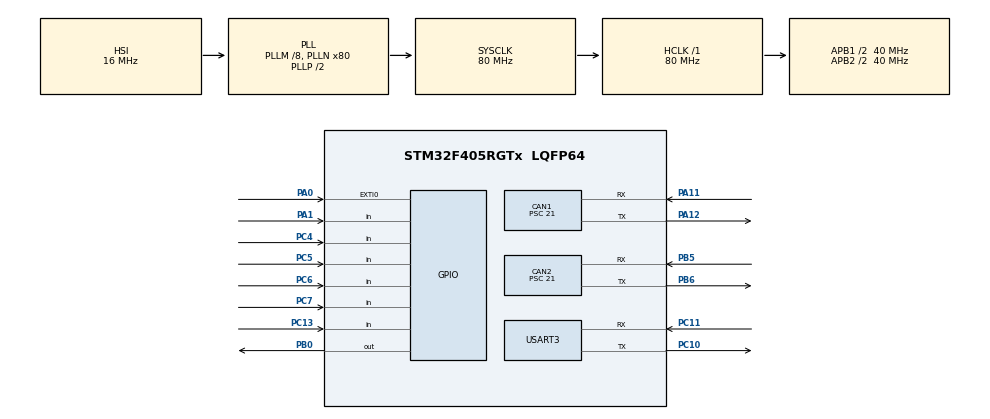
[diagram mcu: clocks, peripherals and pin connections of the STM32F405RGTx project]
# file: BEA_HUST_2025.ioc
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CAN1.BS1=CAN_BS1_12TQ
CAN1.BS2=CAN_BS2_4TQ
CAN1.CalculateBaudRate=112044
CAN1.CalculateTimeBit=8925
CAN1.CalculateTimeQuantum=525.0
CAN1.Prescaler=21
CAN2.BS1=CAN_BS1_12TQ
CAN2.BS2=CAN_BS2_4TQ
CAN2.CalculateBaudRate=112044
CAN2.CalculateTimeBit=8925
CAN2.CalculateTimeQuantum=525.0
CAN2.Prescaler=21
Mcu.Family=STM32F4
Mcu.Name=STM32F405RGTx
Mcu.Package=LQFP64
NVIC.CAN1_RX0_IRQn=true\:2\:0\:true\:false\:true\:true\:true\:true
NVIC.CAN2_RX0_IRQn=true\:2\:0\:true\:false\:true\:true\:true\:true
NVIC.EXTI0_IRQn=true\:1\:0\:true\:false\:true\:true\:true\:true
NVIC.PriorityGroup=NVIC_PRIORITYGROUP_4
NVIC.TIM3_IRQn=true\:0\:0\:false\:false\:true\:true\:true\:true
NVIC.USART3_IRQn=true\:1\:0\:true\:false\:true\:true\:true\:true
PA0-WKUP.GPIO_ModeDefaultEXTI=GPIO_MODE_IT_FALLING
PA0-WKUP.GPIO_PuPd=GPIO_PULLUP
PA0-WKUP.Signal=GPXTI0
PA1.GPIO_PuPd=GPIO_PULLUP
PA1.Signal=GPIO_Input
PA11.Mode=CAN_Activate
PA11.Signal=CAN1_RX
PA12.Mode=CAN_Activate
PA12.Signal=CAN1_TX
PB0.Signal=GPIO_Output
PB5.Mode=CAN_Activate
PB5.Signal=CAN2_RX
PB6.Mode=CAN_Activate
PB6.Signal=CAN2_TX
PC10.Mode=Asynchronous
PC10.Signal=USART3_TX
PC11.Mode=Asynchronous
PC11.Signal=USART3_RX
PC13-ANTI_TAMP.GPIO_PuPd=GPIO_PULLUP
PC13-ANTI_TAMP.Signal=GPIO_Input
PC4.GPIO_PuPd=GPIO_PULLUP
PC4.Signal=GPIO_Input
PC5.GPIO_PuPd=GPIO_PULLUP
PC5.Signal=GPIO_Input
PC6.GPIO_PuPd=GPIO_PULLUP
PC6.Signal=GPIO_Input
PC7.GPIO_PuPd=GPIO_PULLUP
PC7.Signal=GPIO_Input
PH0-OSC_IN.Mode=HSE-External-Oscillator
PH0-OSC_IN.Signal=RCC_OSC_IN
PH1-OSC_OUT.Mode=HSE-External-Oscillator
PH1-OSC_OUT.Signal=RCC_OSC_OUT
ProjectManager.HeapSize=0x200
ProjectManager.StackSize=0x400
ProjectManager.TargetToolchain=STM32CubeIDE
RCC.48MHZClocksFreq_Value=40000000
RCC.AHBFreq_Value=80000000
RCC.APB1CLKDivider=RCC_HCLK_DIV2
RCC.APB1Freq_Value=40000000
RCC.APB1TimFreq_Value=80000000
RCC.APB2CLKDivider=RCC_HCLK_DIV2
RCC.APB2Freq_Value=40000000
RCC.APB2TimFreq_Value=80000000
RCC.CortexFreq_Value=80000000
RCC.HCLKFreq_Value=80000000
RCC.HSE_VALUE=8000000
RCC.HSI_VALUE=16000000
RCC.LSE_VALUE=32768
RCC.PLLM=8
RCC.PLLN=80
RCC.SYSCLKFreq_VALUE=80000000
RCC.SYSCLKSource=RCC_SYSCLKSOURCE_PLLCLK
RCC.VCOOutputFreq_Value=160000000
TIM3.CounterMode=TIM_COUNTERMODE_UP
TIM3.Period=49999
TIM3.Prescaler=7999
USART3.VirtualMode=VM_ASYNC
VP_TIM3_VS_ClockSourceINT.Mode=Internal
board=custom

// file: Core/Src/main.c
/* USER CODE BEGIN Header */
/**
 ******************************************************************************
 * @file           : main.c
 * @brief          : Main program body
 ******************************************************************************
 * @attention
 *
 * Copyright (c) 2023 STMicroelectronics.
 * All rights reserved.
 *
 * This software is licensed under terms that can be found in the LICENSE file
 * in the root directory of this software component.
 * If no LICENSE file comes with this software, it is provided AS-IS.
 *
 ******************************************************************************
 */
/* USER CODE END Header */
#include "main.h"
#include "iso_tp.h"
#include "dcm.h"

CAN_HandleTypeDef hcan1;
CAN_HandleTypeDef hcan2;

TIM_HandleTypeDef htim3;

UART_HandleTypeDef huart3;

/* USER CODE BEGIN PV */
uint8_t uart3_receive;

CAN_HandleTypeDef hcan1;
CAN_HandleTypeDef hcan2;
CAN_TxHeaderTypeDef CAN1_pHeader;
CAN_RxHeaderTypeDef CAN1_pHeaderRx;
CAN_FilterTypeDef CAN1_sFilterConfig;
CAN_TxHeaderTypeDef CAN2_pHeader;
CAN_RxHeaderTypeDef CAN2_pHeaderRx;
CAN_FilterTypeDef CAN2_sFilterConfig;
uint32_t CAN1_pTxMailbox;
uint32_t CAN2_pTxMailbox;
uint16_t NumBytesReq = 0;
uint8_t REQ_BUFFER[4096];
uint8_t REQ_1BYTE_DATA;
uint8_t SEED[6] = { 0x01, 0x08, 0x82, 0x21, 0xAB, 0xCD };
uint8_t KEY[6] = { 0x00, 0x00, 0x00, 0x00, 0x00, 0x00 };

uint8_t CAN1_DATA_TX[8] = { 0x00, 0x00, 0x00, 0x00, 0x00, 0x00, 0x00, 0x00 };
uint8_t CAN1_DATA_RX[8] = { 0x00, 0x00, 0x00, 0x00, 0x00, 0x00, 0x00, 0x00 };
uint8_t CAN2_DATA_TX[8] = { 0x00, 0x00, 0x00, 0x00, 0x00, 0x00, 0x00, 0x00 };
uint8_t CAN2_DATA_RX[8] = { 0x00, 0x00, 0x00, 0x00, 0x00, 0x00, 0x00, 0x00 };

uint16_t Num_Consecutive_Tester;
uint8_t Flg_Consecutive = 0;
volatile uint8_t check;
unsigned int TimeStamp;
volatile uint8_t SecurityUnlocked = 0;
uint8_t SeedProvided = 0;
uint32_t newStdID;
uint16_t AVAILABLE_SERVICE = 0x0123;  // Data Identifier
// ISO-TP variables
uint16_t iso_tp_rx_len;             // Expected total length for RX (used by DCM modules)

// maximum characters send out via UART is 40
char bufsend[40] = "XXX: D1 D2 D3 D4 D5 D6 D7 D8  ";
/* USER CODE END PV */

void SystemClock_Config(void);
static void MX_GPIO_Init(void);
static void MX_CAN1_Init(void);
static void MX_CAN2_Init(void);
static void MX_USART3_UART_Init(void);
static void MX_TIM3_Init(void);
/* USER CODE BEGIN PFP */
void MX_CAN1_Setup();
void MX_CAN2_Setup();
void USART3_SendString(uint8_t *ch);
void send_uds_request_via_can1(uint8_t *uds_data, uint16_t length);
void PrintCANLog(uint16_t CANID, uint8_t *CAN_Frame);
void delay(uint16_t delay);
void read_from_buffer(uint8_t *req_buffer, uint16_t len, uint8_t *data_tx);
void CAN1CommSetup();
void CAN2CommSetup();
void CAN1_Send();
void CAN2_Send();
void calculate_key(uint8_t *input, uint8_t *output);
uint8_t compare_key(uint8_t *array1, uint8_t *array2, uint8_t length);
/* USER CODE END PFP */

int main(void) {

	/* USER CODE BEGIN 1 */
	//uint16_t i, j = 0;
	//uint16_t Consecutive_Cntr = 0;
	/* USER CODE END 1 */

	/* MCU Configuration--------------------------------------------------------*/

	/* Reset of all peripherals, Initializes the Flash interface and the Systick. */
	HAL_Init();

	/* Configure the system clock */
	SystemClock_Config();

	/* Initialize all configured peripherals */
	MX_GPIO_Init();
	MX_CAN1_Init();
	MX_CAN2_Init();
	MX_USART3_UART_Init();
	MX_TIM3_Init();
	/* USER CODE BEGIN 2 */
	CAN1CommSetup();
	CAN2CommSetup();
	MX_CAN1_Setup();
	MX_CAN2_Setup();
	iso_tp_init();  // Initialize ISO-TP
	__HAL_UART_ENABLE_IT(&huart3, UART_IT_RXNE);

	/* USER CODE END 2 */

	/* Infinite loop */
	/* USER CODE BEGIN WHILE */
	// Example Function to print can message via uart
	PrintCANLog(CAN1_pHeader.StdId, &CAN1_DATA_TX[0]);
	while (1) {
		/* USER CODE END WHILE */

		/* USER CODE BEGIN 3 */
		// Update ISO-TP timer
		iso_tp_timer_update();

		// Check if CAN1 received a response (non-Flow Control) for display
		if (check == 1) {
			// Check if this is part of a multi-frame response
			uint8_t pci = CAN1_DATA_RX[0] & 0xF0;
			if (pci != 0x10 && pci != 0x20) { // Not First Frame or Consecutive Frame
				USART3_SendString((uint8_t*) "Response: ");
			}
			PrintCANLog(CAN1_pHeaderRx.StdId, CAN1_DATA_RX);
			check = 0;
		}

		if (NumBytesReq != 0) {
			delay(100);

			// Convert raw UDS data to ISO-TP frames
			// User sends: "27 01" → Program creates: "02 27 01"
			send_uds_request_via_can1(REQ_BUFFER, NumBytesReq);

			// Clear buffer after processing
			memset(REQ_BUFFER, 0, sizeof(REQ_BUFFER));
			NumBytesReq = 0;

			delay(100);
		}
		if (!BtnU) /*IG OFF->ON stimulation*/
		{
			delay(20);
			USART3_SendString((uint8_t*) "IG OFF ");
			while (!BtnU)
				;
			CAN1_pHeader.StdId = newStdID;
			CAN2CommSetup();
			MX_CAN1_Setup();
			MX_CAN2_Setup();
			USART3_SendString((uint8_t*) "-> IG ON \n");
			delay(20);
		}
	}

	memset(&REQ_BUFFER, 0x00, 4096);
	NumBytesReq = 0;

	/* USER CODE END 3 */
}

void SystemClock_Config(void) {
	RCC_OscInitTypeDef RCC_OscInitStruct = { 0 };
	RCC_ClkInitTypeDef RCC_ClkInitStruct = { 0 };

	/** Configure the main internal regulator output voltage
	 */
	__HAL_RCC_PWR_CLK_ENABLE();
	__HAL_PWR_VOLTAGESCALING_CONFIG(PWR_REGULATOR_VOLTAGE_SCALE1);

	/** Initializes the RCC Oscillators according to the specified parameters
	 * in the RCC_OscInitTypeDef structure.
	 */
	RCC_OscInitStruct.OscillatorType = RCC_OSCILLATORTYPE_HSI;
	RCC_OscInitStruct.HSIState = RCC_HSI_ON;
	RCC_OscInitStruct.HSICalibrationValue = RCC_HSICALIBRATION_DEFAULT;
	RCC_OscInitStruct.PLL.PLLState = RCC_PLL_ON;
	RCC_OscInitStruct.PLL.PLLSource = RCC_PLLSOURCE_HSI;
	RCC_OscInitStruct.PLL.PLLM = 8;
	RCC_OscInitStruct.PLL.PLLN = 80;
	RCC_OscInitStruct.PLL.PLLP = RCC_PLLP_DIV2;
	RCC_OscInitStruct.PLL.PLLQ = 4;
	if (HAL_RCC_OscConfig(&RCC_OscInitStruct) != HAL_OK) {
		Error_Handler();
	}

	/** Initializes the CPU, AHB and APB buses clocks
	 */
	RCC_ClkInitStruct.ClockType = RCC_CLOCKTYPE_HCLK | RCC_CLOCKTYPE_SYSCLK
			| RCC_CLOCKTYPE_PCLK1 | RCC_CLOCKTYPE_PCLK2;
	RCC_ClkInitStruct.SYSCLKSource = RCC_SYSCLKSOURCE_PLLCLK;
	RCC_ClkInitStruct.AHBCLKDivider = RCC_SYSCLK_DIV1;
	RCC_ClkInitStruct.APB1CLKDivider = RCC_HCLK_DIV2;
	RCC_ClkInitStruct.APB2CLKDivider = RCC_HCLK_DIV2;

	if (HAL_RCC_ClockConfig(&RCC_ClkInitStruct, FLASH_LATENCY_2) != HAL_OK) {
		Error_Handler();
	}
}

static void MX_CAN1_Init(void) {

	hcan1.Instance = CAN1;
	hcan1.Init.Prescaler = 21;
	hcan1.Init.Mode = CAN_MODE_NORMAL;
	hcan1.Init.SyncJumpWidth = CAN_SJW_1TQ;
	hcan1.Init.TimeSeg1 = CAN_BS1_12TQ;
	hcan1.Init.TimeSeg2 = CAN_BS2_4TQ;
	hcan1.Init.TimeTriggeredMode = DISABLE;
	hcan1.Init.AutoBusOff = DISABLE;
	hcan1.Init.AutoWakeUp = DISABLE;
	hcan1.Init.AutoRetransmission = DISABLE;
	hcan1.Init.ReceiveFifoLocked = DISABLE;
	hcan1.Init.TransmitFifoPriority = DISABLE;
	if (HAL_CAN_Init(&hcan1) != HAL_OK) {
		Error_Handler();
	}

}

static void MX_CAN2_Init(void) {

	hcan2.Instance = CAN2;
	hcan2.Init.Prescaler = 21;
	hcan2.Init.Mode = CAN_MODE_NORMAL;
	hcan2.Init.SyncJumpWidth = CAN_SJW_1TQ;
	hcan2.Init.TimeSeg1 = CAN_BS1_12TQ;
	hcan2.Init.TimeSeg2 = CAN_BS2_4TQ;
	hcan2.Init.TimeTriggeredMode = DISABLE;
	hcan2.Init.AutoBusOff = DISABLE;
	hcan2.Init.AutoWakeUp = DISABLE;
	hcan2.Init.AutoRetransmission = DISABLE;
	hcan2.Init.ReceiveFifoLocked = DISABLE;
	hcan2.Init.TransmitFifoPriority = DISABLE;
	if (HAL_CAN_Init(&hcan2) != HAL_OK) {
		Error_Handler();
	}

}

static void MX_TIM3_Init(void) {

	TIM_ClockConfigTypeDef sClockSourceConfig = { 0 };
	TIM_MasterConfigTypeDef sMasterConfig = { 0 };

	htim3.Instance = TIM3;
	htim3.Init.Prescaler = 7999;
	htim3.Init.CounterMode = TIM_COUNTERMODE_UP;
	htim3.Init.Period = 49999;
	htim3.Init.ClockDivision = TIM_CLOCKDIVISION_DIV1;
	htim3.Init.AutoReloadPreload = TIM_AUTORELOAD_PRELOAD_DISABLE;
	if (HAL_TIM_Base_Init(&htim3) != HAL_OK) {
		Error_Handler();
	}
	sClockSourceConfig.ClockSource = TIM_CLOCKSOURCE_INTERNAL;
	if (HAL_TIM_ConfigClockSource(&htim3, &sClockSourceConfig) != HAL_OK) {
		Error_Handler();
	}
	sMasterConfig.MasterOutputTrigger = TIM_TRGO_RESET;
	sMasterConfig.MasterSlaveMode = TIM_MASTERSLAVEMODE_DISABLE;
	if (HAL_TIMEx_MasterConfigSynchronization(&htim3, &sMasterConfig)
			!= HAL_OK) {
		Error_Handler();
	}

}

static void MX_USART3_UART_Init(void) {

	huart3.Instance = USART3;
	huart3.Init.BaudRate = 115200;
	huart3.Init.WordLength = UART_WORDLENGTH_8B;
	huart3.Init.StopBits = UART_STOPBITS_1;
	huart3.Init.Parity = UART_PARITY_NONE;
	huart3.Init.Mode = UART_MODE_TX_RX;
	huart3.Init.HwFlowCtl = UART_HWCONTROL_NONE;
	huart3.Init.OverSampling = UART_OVERSAMPLING_16;
	if (HAL_UART_Init(&huart3) != HAL_OK) {
		Error_Handler();
	}

}

static void MX_GPIO_Init(void) {
	GPIO_InitTypeDef GPIO_InitStruct = { 0 };

	/* GPIO Ports Clock Enable */
	__HAL_RCC_GPIOC_CLK_ENABLE();
	__HAL_RCC_GPIOH_CLK_ENABLE();
	__HAL_RCC_GPIOA_CLK_ENABLE();
	__HAL_RCC_GPIOB_CLK_ENABLE();

	/*Configure GPIO pin Output Level */
	HAL_GPIO_WritePin(GPIOB, GPIO_PIN_0, GPIO_PIN_RESET);

	/*Configure GPIO pins : PC13 PC4 PC5 PC6
	 PC7 */
	GPIO_InitStruct.Pin = GPIO_PIN_13 | GPIO_PIN_4 | GPIO_PIN_5 | GPIO_PIN_6
			| GPIO_PIN_7;
	GPIO_InitStruct.Mode = GPIO_MODE_INPUT;
	GPIO_InitStruct.Pull = GPIO_PULLUP;
	HAL_GPIO_Init(GPIOC, &GPIO_InitStruct);

	/*Configure GPIO pin : PA0 */
	GPIO_InitStruct.Pin = GPIO_PIN_0;
	GPIO_InitStruct.Mode = GPIO_MODE_IT_FALLING;
	GPIO_InitStruct.Pull = GPIO_PULLUP;
	HAL_GPIO_Init(GPIOA, &GPIO_InitStruct);

	/*Configure GPIO pin : PA1 */
	GPIO_InitStruct.Pin = GPIO_PIN_1;
	GPIO_InitStruct.Mode = GPIO_MODE_INPUT;
	GPIO_InitStruct.Pull = GPIO_PULLUP;
	HAL_GPIO_Init(GPIOA, &GPIO_InitStruct);

	/*Configure GPIO pin : PB0 */
	GPIO_InitStruct.Pin = GPIO_PIN_0;
	GPIO_InitStruct.Mode = GPIO_MODE_OUTPUT_PP;
	GPIO_InitStruct.Pull = GPIO_NOPULL;
	GPIO_InitStruct.Speed = GPIO_SPEED_FREQ_LOW;
	HAL_GPIO_Init(GPIOB, &GPIO_InitStruct);

	/* EXTI interrupt init*/
	HAL_NVIC_SetPriority(EXTI0_IRQn, 1, 0);
	HAL_NVIC_EnableIRQ(EXTI0_IRQn);

}

/* USER CODE BEGIN 4 */
void read_from_buffer(uint8_t *req_buffer, uint16_t len, uint8_t *data_tx) {
	// Copy the complete ISO-TP frame including PCI
	uint8_t i;
	for (i = 0; i < len && i < 8; i++) {
		data_tx[i] = req_buffer[i];
	}
	// Pad remaining bytes with 0x55
	while (i < 8) {
		data_tx[i] = 0x55;
		i++;
	}
}
void MX_CAN1_Setup() {
	HAL_CAN_ConfigFilter(&hcan1, &CAN1_sFilterConfig);
	HAL_CAN_Start(&hcan1);
	HAL_CAN_ActivateNotification(&hcan1, CAN_IT_RX_FIFO0_MSG_PENDING);
}
void MX_CAN2_Setup() {
	HAL_CAN_ConfigFilter(&hcan2, &CAN2_sFilterConfig);
	HAL_CAN_Start(&hcan2);
	HAL_CAN_ActivateNotification(&hcan2, CAN_IT_RX_FIFO0_MSG_PENDING);
}

void USART3_SendString(uint8_t *ch) {
	while (*ch != 0) {
		if (*ch == '\n') {
			// Send carriage return before newline for proper line ending
			unsigned char cr = '\r';
			HAL_UART_Transmit(&huart3, &cr, 1, HAL_MAX_DELAY);
		}
		HAL_UART_Transmit(&huart3, ch, 1, HAL_MAX_DELAY);
		ch++;
	}
}
void PrintCANLog(uint16_t CANID, uint8_t *CAN_Frame) {
	// Print timestamp
	sprintf(bufsend, "%d ", TimeStamp);
	USART3_SendString((uint8_t*) bufsend);

	// Format and print the complete CAN message: "XXX: D1 D2 D3 D4 D5 D6 D7 D8 "
	sprintf(bufsend, "0x%03X: %02X %02X %02X %02X %02X %02X %02X %02X \n",
			CANID,
			CAN_Frame[0], CAN_Frame[1], CAN_Frame[2], CAN_Frame[3],
			CAN_Frame[4], CAN_Frame[5], CAN_Frame[6], CAN_Frame[7]);
	USART3_SendString((unsigned char*) bufsend);
}
void HAL_UART_RxCpltCallback(UART_HandleTypeDef *huart) {
	REQ_BUFFER[NumBytesReq] = REQ_1BYTE_DATA;
	NumBytesReq++;
	//REQ_BUFFER[7] = NumBytesReq;
}
void delay(uint16_t delay) {
	HAL_Delay(delay);
}

// Correct calculated key for SEED {0x01, 0x08, 0x82, 0x21, 0xAB, 0xCD} is: {0x09, 0x8A, 0xA3, 0x22, 0xA0, 0x0D}
// UART command: "27 02 09 8A A3 22 A0 0D"
void calculate_key(uint8_t *input, uint8_t *output) {
	output[0] = input[0] ^ input[1];
	output[1] = input[1] + input[2];
	output[2] = input[2] ^ input[3];
	output[3] = input[3] + input[0];
	output[4] = input[4] & 0xF0;
	output[5] = input[5] & 0x0F;
}

// Function to send UDS request via CAN1 with proper ISO-TP framing
void send_uds_request_via_can1(uint8_t *uds_data, uint16_t length) {
	if (length == 0 || length > 4095) {
		USART3_SendString((uint8_t*) "Invalid UDS data length\n");
		return;
	}

	// Print debug info
	char debug_msg[100];
	/*
	sprintf(debug_msg, "UDS Request (%d bytes): ", length);
	USART3_SendString((uint8_t*) debug_msg);

	for (int i = 0; i < length && i < 10; i++) {
		sprintf(debug_msg, "%02X ", uds_data[i]);
		USART3_SendString((uint8_t*) debug_msg);
	}
	USART3_SendString((uint8_t*) "\n");
	*/

	if (length <= 7) {
		// Single Frame: First byte = 0x0L (L = length)
		CAN1_DATA_TX[0] = 0x00 | length; // Single Frame PCI + length
		memcpy(&CAN1_DATA_TX[1], uds_data, length);

		// Pad remaining bytes
		for (int i = length + 1; i < 8; i++) {
			CAN1_DATA_TX[i] = 0x55;
		}

		//sprintf(debug_msg, "Sending Single Frame: ");
		//USART3_SendString((uint8_t*) debug_msg);
		//PrintCANLog(CAN1_pHeader.StdId, CAN1_DATA_TX);

		USART3_SendString((uint8_t*) "Request: ");
		CAN1_Send();
	} else {
		// Multi-Frame: First Frame + Consecutive Frames
		// First Frame: 1L LL DD DD DD DD DD DD (L LL = 12-bit length)
		CAN1_DATA_TX[0] = 0x10 | ((length >> 8) & 0x0F); // FF PCI + high nibble of length
		CAN1_DATA_TX[1] = length & 0xFF; // Low byte of length
		memcpy(&CAN1_DATA_TX[2], uds_data, 6); // First 6 bytes of data

		sprintf(debug_msg, "Sending First Frame: ");
		USART3_SendString((uint8_t*) debug_msg);

		CAN1_Send();

		// Wait for Flow Control (in a real implementation, this should be event-driven)
		delay(100);

		// Send Consecutive Frames
		uint16_t sent_bytes = 6;
		uint8_t sequence_number = 1;

		while (sent_bytes < length) {
			uint8_t remaining = length - sent_bytes;
			uint8_t to_send = (remaining > 7) ? 7 : remaining;

			CAN1_DATA_TX[0] = 0x20 | (sequence_number & 0x0F); // CF PCI + sequence number
			memcpy(&CAN1_DATA_TX[1], &uds_data[sent_bytes], to_send);

			// Pad remaining bytes
			for (int i = to_send + 1; i < 8; i++) {
				CAN1_DATA_TX[i] = 0x55;
			}

			sprintf(debug_msg, "Sending Consecutive Frame %d: ", sequence_number);
			USART3_SendString((uint8_t*) debug_msg);

			CAN1_Send();

			sent_bytes += to_send;
			sequence_number++;
			if (sequence_number > 15) sequence_number = 0; // Wrap around

			delay(50); // Small delay between frames
		}
	}
}
uint8_t compare_key(uint8_t *array1, uint8_t *array2, uint8_t length) {
	for (uint8_t i = 0; i < length; i++) {
		if (array1[i] != array2[i]) {
			return 0;
		}
	}
	return 1;
}

void HAL_CAN_RxFifo0MsgPendingCallback(CAN_HandleTypeDef *hcan) {
	HAL_StatusTypeDef ret;
	if (hcan == &hcan1) {
		ret = HAL_CAN_GetRxMessage(hcan, CAN_RX_FIFO0, &CAN1_pHeaderRx,
				CAN1_DATA_RX);
		if (ret != HAL_OK) {
			Error_Handler();
		}

		// Process CAN1 frames immediately in interrupt
		uint8_t pci = CAN1_DATA_RX[0] & 0xF0;
		if (pci == ISO_TP_PCI_FC) {
			// Process Flow Control from ECU
			iso_tp_process_rx(CAN1_DATA_RX);
		} else if (pci == ISO_TP_PCI_SF) {
			// Single Frame - set flag for main loop display
			check = 1;
		} else {
			// Multi-frame (FF or CF) - don't log here since ECU side already logged when sending
			// Just process silently
		}
		return;
	}
	if (hcan == &hcan2) {
		ret = HAL_CAN_GetRxMessage(hcan, CAN_RX_FIFO0, &CAN2_pHeaderRx,
				CAN2_DATA_RX);
		if (ret != HAL_OK) {
			Error_Handler();
		}

		// Process CAN2 frames immediately in interrupt
		iso_tp_process_rx(CAN2_DATA_RX);
		return;
	}
}

void CAN1_Send() {
	PrintCANLog(CAN1_pHeader.StdId, CAN1_DATA_TX);
	if (HAL_CAN_AddTxMessage(&hcan1, &CAN1_pHeader, CAN1_DATA_TX,
			&CAN1_pTxMailbox) != HAL_OK) {
		Error_Handler();
	}
}

void CAN1CommSetup() {
	CAN1_pHeader.IDE = CAN_ID_STD;
	CAN1_pHeader.StdId = 0x712;
	CAN1_pHeader.RTR = CAN_RTR_DATA;
	CAN1_pHeader.DLC = 8;
	CAN1_sFilterConfig.FilterActivation = CAN_FILTER_ENABLE;
	CAN1_sFilterConfig.FilterBank = 14;
	CAN1_sFilterConfig.FilterFIFOAssignment = CAN_FILTER_FIFO0;
	CAN1_sFilterConfig.FilterIdHigh = 0x7A2 << 5;
	CAN1_sFilterConfig.FilterIdLow = 0;
	CAN1_sFilterConfig.FilterMaskIdHigh = 0x7A2 << 5;
	CAN1_sFilterConfig.FilterMaskIdLow = 0;
	CAN1_sFilterConfig.FilterMode = CAN_FILTERMODE_IDMASK;
	CAN1_sFilterConfig.FilterScale = CAN_FILTERSCALE_32BIT;
	CAN1_sFilterConfig.SlaveStartFilterBank = 16;
	HAL_CAN_ConfigFilter(&hcan1, &CAN1_sFilterConfig);
}

void CAN2_Send() {
	PrintCANLog(CAN2_pHeader.StdId, CAN2_DATA_TX);
	if (HAL_CAN_AddTxMessage(&hcan2, &CAN2_pHeader, CAN2_DATA_TX,
			&CAN2_pTxMailbox) != HAL_OK) {
		Error_Handler();
	}
}

void CAN2CommSetup() {
	CAN2_pHeader.IDE = CAN_ID_STD;
	CAN2_pHeader.StdId = 0x7A2;
	CAN2_pHeader.RTR = CAN_RTR_DATA;
	CAN2_pHeader.DLC = 8;
	CAN2_sFilterConfig.FilterActivation = CAN_FILTER_ENABLE;
	CAN2_sFilterConfig.FilterBank = 18;
	CAN2_sFilterConfig.FilterFIFOAssignment = CAN_FILTER_FIFO0;
	CAN2_sFilterConfig.FilterIdHigh = CAN1_pHeader.StdId << 5;
	CAN2_sFilterConfig.FilterIdLow = 0;
	CAN2_sFilterConfig.FilterMaskIdHigh = CAN1_pHeader.StdId << 5;
	CAN2_sFilterConfig.FilterMaskIdLow = 0;
	CAN2_sFilterConfig.FilterMode = CAN_FILTERMODE_IDMASK;
	CAN2_sFilterConfig.FilterScale = CAN_FILTERSCALE_32BIT;
	HAL_CAN_ConfigFilter(&hcan2, &CAN2_sFilterConfig);
}

void HAL_TIM_PeriodElapsedCallback(TIM_HandleTypeDef *htim) {
	if (htim == &htim3) {
		if (SecurityUnlocked == 0)
			return;
		else {
			HAL_TIM_Base_Stop_IT(htim);
			SecurityUnlocked = 0;
			HAL_GPIO_WritePin(GPIOB, GPIO_PIN_0, GPIO_PIN_RESET);
			USART3_SendString((uint8_t*) "Session Locked\n");
		}
	}
}
/* USER CODE END 4 */

void Error_Handler(void) {
	__disable_irq();
	while (1) {
	}
}
